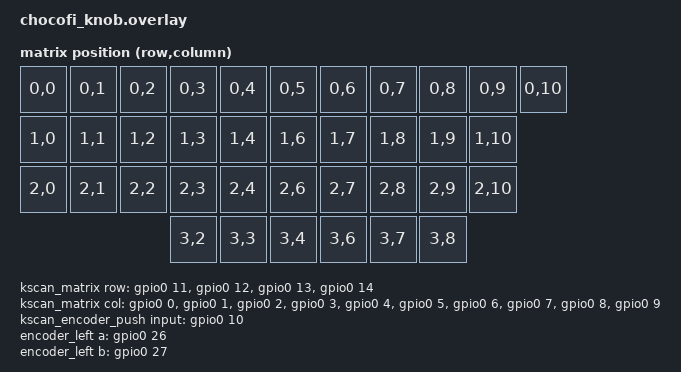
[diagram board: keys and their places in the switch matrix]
#include <dt-bindings/zmk/matrix_transform.h>
#include "chocofi_knob-layouts.dtsi"

/ {
  chosen {
    zmk,kscan = &kscan0;
    zmk,physical-layout = &chocofi_knob_layout;
  };

  default_transform: keymap_transform_0 {
    compatible = "zmk,matrix-transform";
    columns = <11>;
    rows = <4>;
    map = <
      RC(0,0) RC(0,1) RC(0,2) RC(0,3) RC(0,4)    RC(0,5) RC(0,6) RC(0,7) RC(0,8) RC(0,9) RC(0,10)
      RC(1,0) RC(1,1) RC(1,2) RC(1,3) RC(1,4)    RC(1,6) RC(1,7) RC(1,8) RC(1,9) RC(1,10)
      RC(2,0) RC(2,1) RC(2,2) RC(2,3) RC(2,4)    RC(2,6) RC(2,7) RC(2,8) RC(2,9) RC(2,10)
                              RC(3,2) RC(3,3) RC(3,4)    RC(3,6) RC(3,7) RC(3,8)
    >;
  };

  kscan0: kscan {
    compatible = "zmk,kscan-composite";
    rows = <4>;
    columns = <11>;

    matrix {
      kscan = <&kscan_matrix>;
    };

    encoder_push {
      kscan = <&kscan_encoder_push>;
      col-offset = <10>;
    };
  };

  kscan_matrix: kscan_matrix {
    compatible = "zmk,kscan-gpio-matrix";
    wakeup-source;

    diode-direction = "col2row";

    col-gpios
      = <&gpio0 0 GPIO_ACTIVE_HIGH>
      , <&gpio0 1 GPIO_ACTIVE_HIGH>
      , <&gpio0 2 GPIO_ACTIVE_HIGH>
      , <&gpio0 3 GPIO_ACTIVE_HIGH>
      , <&gpio0 4 GPIO_ACTIVE_HIGH>
      , <&gpio0 5 GPIO_ACTIVE_HIGH>
      , <&gpio0 6 GPIO_ACTIVE_HIGH>
      , <&gpio0 7 GPIO_ACTIVE_HIGH>
      , <&gpio0 8 GPIO_ACTIVE_HIGH>
      , <&gpio0 9 GPIO_ACTIVE_HIGH>
      ;

    row-gpios
      = <&gpio0 11 (GPIO_ACTIVE_HIGH | GPIO_PULL_DOWN)>
      , <&gpio0 12 (GPIO_ACTIVE_HIGH | GPIO_PULL_DOWN)>
      , <&gpio0 13 (GPIO_ACTIVE_HIGH | GPIO_PULL_DOWN)>
      , <&gpio0 14 (GPIO_ACTIVE_HIGH | GPIO_PULL_DOWN)>
      ;
  };

  kscan_encoder_push: kscan_encoder_push {
    compatible = "zmk,kscan-gpio-direct";
    wakeup-source;

    input-gpios = <&gpio0 10 (GPIO_ACTIVE_LOW | GPIO_PULL_UP)>;
  };

  encoder_left: encoder_left {
    compatible = "alps,ec11";
    a-gpios = <&gpio0 26 (GPIO_ACTIVE_HIGH | GPIO_PULL_UP)>;
    b-gpios = <&gpio0 27 (GPIO_ACTIVE_HIGH | GPIO_PULL_UP)>;
    steps = <80>;
    status = "okay";
  };

  sensors: sensors {
    compatible = "zmk,keymap-sensors";
    sensors = <&encoder_left>;
    triggers-per-rotation = <20>;
  };
};

&chocofi_knob_layout {
  transform = <&default_transform>;
  kscan = <&kscan0>;
};
